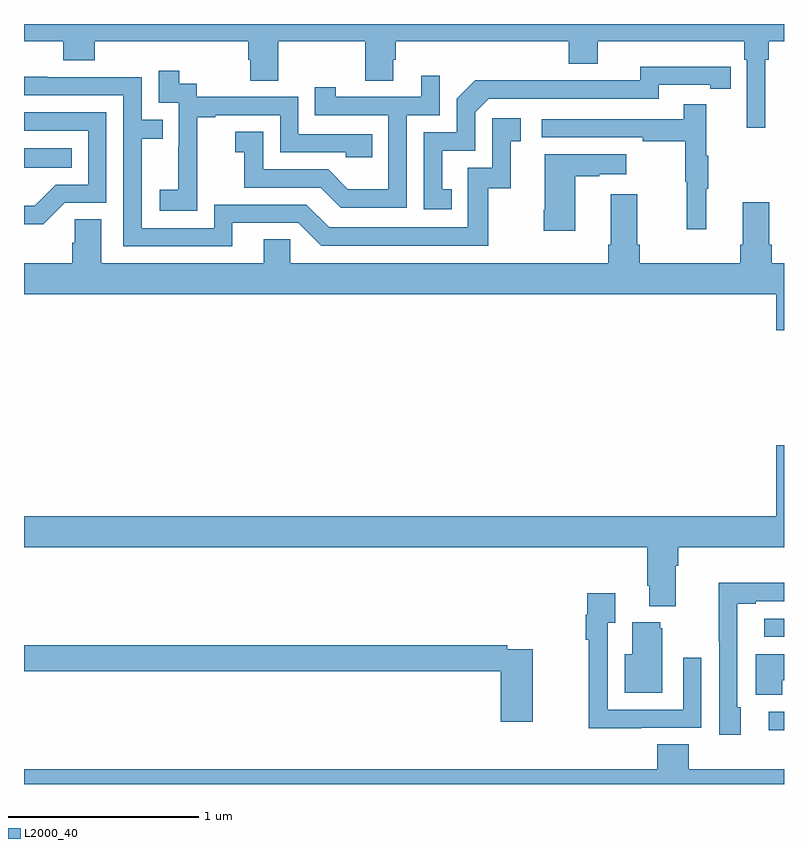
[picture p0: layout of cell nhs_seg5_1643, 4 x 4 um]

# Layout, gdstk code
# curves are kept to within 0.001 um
import gdstk
lib = gdstk.Library(unit=1e-6, precision=1e-09)
def R(c, l, rs):  # rectangles x0, y0, x1, y1
    for r in rs: c.add(gdstk.rectangle(r[:2], r[2:], *l))
def P(c, l, *ps):  # polygons
    for p in ps: c.add(gdstk.Polygon(p, *l))
L2000_40 = (2000, 40)

nhs_seg5_1643 = lib.new_cell('nhs_seg5_1643')
R(nhs_seg5_1643, L2000_40, [(212.919,905.081,213,905.178), (212.895,905.574,213,905.67), (209,908.042,209.252,908.146)])
P(nhs_seg5_1643, L2000_40, [(212.902,908.612),(212.921,908.612),(212.921,908.708),(213,908.708),(213,908.799),(209,908.799),(209,908.708),(209.207,908.708),(209.207,908.609),(209.372,908.609),(209.372,908.708),(210.179,908.708),(210.179,908.61),(210.191,908.61),(210.191,908.5),(210.339,908.5),(210.339,908.708),(210.796,908.708),(210.796,908.5),(210.943,908.5),(210.943,908.61),(210.956,908.61),(210.956,908.708),(211.868,908.708),(211.868,908.591),(212.02,908.591),(212.02,908.708),(212.792,908.708),(212.792,908.612),(212.805,908.612),(212.805,908.253),(212.902,908.253)],
  [(211.25,907.929),(211.201,907.929),(211.201,908.133),(211.374,908.133),(211.374,908.334),(211.446,908.406),(212.34,908.406),(212.34,908.478),(212.612,908.478),(212.612,908.458),(212.72,908.458),(212.72,908.574),(212.244,908.575),(212.244,908.502),(211.784,908.502),(211.784,908.504),(211.376,908.504),(211.278,908.406),(211.278,908.229),(211.104,908.229),(211.104,907.824),(211.25,907.824)],
  [(209.913,908.023),(209.912,908.023),(209.912,908.307),(210.007,908.307),(210.007,908.319),(210.348,908.319),(210.348,908.124),(210.693,908.124),(210.693,908.097),(210.833,908.097),(210.833,908.22),(210.444,908.22),(210.444,908.415),(209.91,908.415),(209.91,908.484),(209.818,908.484),(209.818,908.554),(209.709,908.554),(209.709,908.385),(209.814,908.385),(209.814,908.156),(209.813,908.156),(209.813,907.927),(209.715,907.927),(209.715,907.817),(209.913,907.817)],
  [(211.014,908.319),(211.188,908.319),(211.188,908.527),(211.091,908.527),(211.091,908.415),(210.64,908.415),(210.64,908.467),(210.529,908.467),(210.529,908.319),(210.918,908.319),(210.918,907.93),(210.704,907.93),(210.6,908.034),(210.258,908.034),(210.258,908.233),(210.111,908.233),(210.111,908.123),(210.16,908.123),(210.16,907.938),(210.563,907.938),(210.668,907.833),(211.014,907.833)],
  [(210.097,907.752),(210.444,907.752),(210.564,907.632),(211.444,907.632),(211.444,907.935),(211.562,907.935),(211.562,908.181),(211.615,908.181),(211.615,908.302),(211.464,908.302),(211.464,908.043),(211.335,908.043),(211.335,907.728),(210.606,907.728),(210.486,907.848),(210,907.848),(210,907.725),(209.619,907.725),(209.619,908.194),(209.729,908.194),(209.729,908.295),(209.619,908.295),(209.619,908.52),(209.123,908.52),(209.123,908.522),(209,908.522),(209,908.424),(209.523,908.424),(209.523,907.629),(210.097,907.629)],
  [(212.591,907.931),(212.602,907.931),(212.602,908.105),(212.591,908.105),(212.591,908.377),(212.473,908.377),(212.473,908.298),(211.725,908.298),(211.725,908.202),(212.257,908.202),(212.257,908.182),(212.481,908.182),(212.481,907.968),(212.488,907.968),(212.488,907.719),(212.591,907.719)],
  [(209.214,907.857),(209.433,907.857),(209.433,908.334),(209,908.334),(209,908.238),(209.337,908.238),(209.337,907.953),(209.168,907.953),(209.057,907.842),(209,907.842),(209,907.745),(209.101,907.745)],
  [(211.9,907.999),(212.027,907.999),(212.027,908.009),(212.17,908.009),(212.17,908.113),(211.742,908.113),(211.742,907.822),(211.735,907.822),(211.735,907.71),(211.9,907.71)],
  [(213,907.54),(212.936,907.54),(212.936,907.636),(212.923,907.636),(212.923,907.861),(212.783,907.861),(212.783,907.636),(212.771,907.636),(212.771,907.54),(212.24,907.54),(212.24,907.636),(212.227,907.636),(212.227,907.903),(212.087,907.903),(212.087,907.636),(212.075,907.636),(212.075,907.54),(210.402,907.54),(210.402,907.667),(210.263,907.667),(210.263,907.54),(209.407,907.54),(209.407,907.772),(209.268,907.772),(209.268,907.649),(209.255,907.649),(209.255,907.54),(209,907.54),(209,907.376),(212.96,907.376),(212.96,907.188),(213,907.188)],
  [(212.431,905.948),(212.444,905.948),(212.444,906.044),(213,906.044),(213,906.583),(212.96,906.583),(212.96,906.208),(209,906.208),(209,906.044),(212.279,906.044),(212.279,905.842),(212.291,905.842),(212.291,905.735),(212.431,905.735)],
  [(212.773,905.202),(212.754,905.202),(212.754,905.748),(212.851,905.748),(212.851,905.76),(213,905.76),(213,905.858),(212.656,905.858),(212.656,905.551),(212.658,905.551),(212.658,905.058),(212.773,905.058)],
  [(212.249,905.094),(212.565,905.094),(212.565,905.464),(212.469,905.464),(212.469,905.19),(212.073,905.19),(212.073,905.647),(212.113,905.647),(212.113,905.803),(211.965,905.803),(211.965,905.69),(211.957,905.69),(211.957,905.558),(211.972,905.558),(211.972,905.093),(212.249,905.093)],
  [(212.359,905.619),(212.348,905.619),(212.348,905.65),(212.201,905.65),(212.201,905.482),(212.162,905.482),(212.162,905.279),(212.359,905.279)],
  [(211.678,905.508),(211.544,905.508),(211.544,905.528),(209,905.528),(209,905.392),(211.508,905.392),(211.508,905.127),(211.678,905.127)],
  [(212.991,905.346),(213,905.346),(213,905.482),(212.852,905.482),(212.852,905.27),(212.991,905.27)],
  [(213,904.876),(212.498,904.876),(212.498,905.009),(212.333,905.009),(212.333,904.876),(209,904.876),(209,904.799),(213,904.799)])

lib.write_gds('nhs_seg5_1643.gds')
